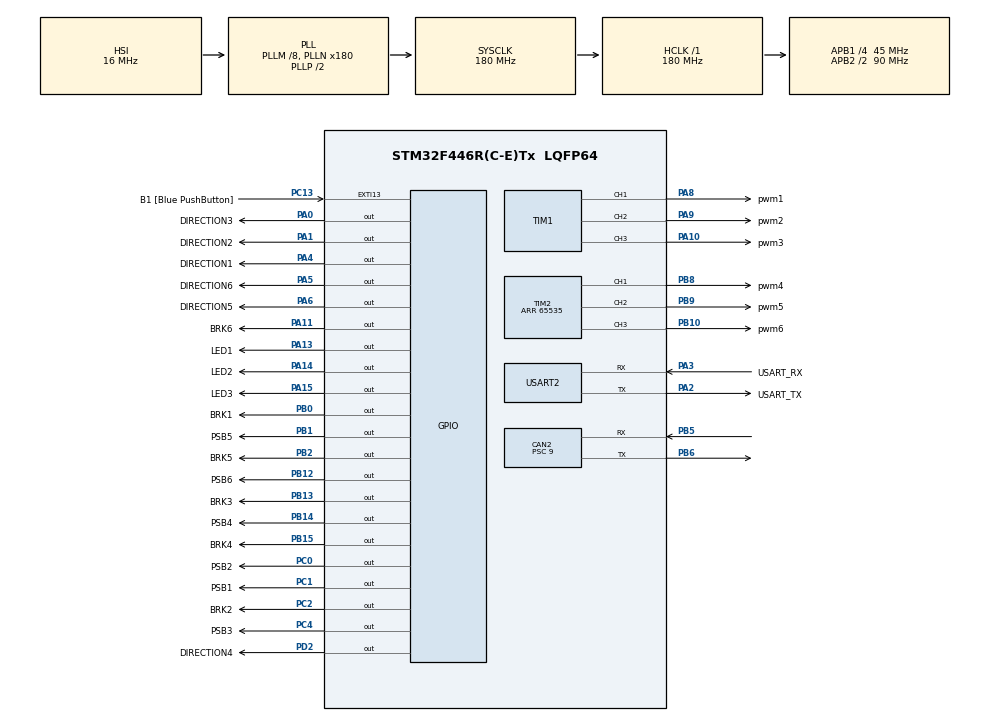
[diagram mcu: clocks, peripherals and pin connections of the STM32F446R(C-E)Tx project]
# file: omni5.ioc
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CAN2.BS1=CAN_BS1_4TQ
CAN2.BS2=CAN_BS2_5TQ
CAN2.CalculateBaudRate=500000
CAN2.CalculateTimeBit=2000
CAN2.CalculateTimeQuantum=200.0
CAN2.Prescaler=9
CAN2.SJW=CAN_SJW_4TQ
Mcu.Family=STM32F4
Mcu.Name=STM32F446R(C-E)Tx
Mcu.Package=LQFP64
NVIC.CAN2_RX0_IRQn=true\:0\:0\:false\:false\:true\:true\:true\:true
NVIC.CAN2_RX1_IRQn=true\:0\:0\:false\:false\:true\:true\:true\:true
NVIC.PriorityGroup=NVIC_PRIORITYGROUP_0
PA0-WKUP.GPIO_Label=DIRECTION3
PA0-WKUP.Signal=GPIO_Output
PA1.GPIO_Label=DIRECTION2
PA1.Signal=GPIO_Output
PA10.GPIO_Label=pwm3
PA10.Signal=S_TIM1_CH3
PA11.GPIO_Label=BRK6
PA11.Signal=GPIO_Output
PA13.GPIO_Label=LED1
PA13.Signal=GPIO_Output
PA14.GPIO_Label=LED2
PA14.Signal=GPIO_Output
PA15.GPIO_Label=LED3
PA15.Signal=GPIO_Output
PA2.GPIO_Label=USART_TX
PA2.Mode=Asynchronous
PA2.Signal=USART2_TX
PA3.GPIO_Label=USART_RX
PA3.Mode=Asynchronous
PA3.Signal=USART2_RX
PA4.GPIO_Label=DIRECTION1
PA4.Signal=GPIO_Output
PA5.GPIO_Label=DIRECTION6
PA5.Signal=GPIO_Output
PA6.GPIO_Label=DIRECTION5
PA6.Signal=GPIO_Output
PA8.GPIO_Label=pwm1
PA8.Signal=S_TIM1_CH1
PA9.GPIO_Label=pwm2
PA9.Signal=S_TIM1_CH2
PB0.GPIO_Label=BRK1
PB0.Signal=GPIO_Output
PB1.GPIO_Label=PSB5
PB1.Signal=GPIO_Output
PB10.GPIO_Label=pwm6
PB10.Signal=S_TIM2_CH3
PB12.GPIO_Label=PSB6
PB12.Signal=GPIO_Output
PB13.GPIO_Label=BRK3
PB13.Signal=GPIO_Output
PB14.GPIO_Label=PSB4
PB14.Signal=GPIO_Output
PB15.GPIO_Label=BRK4
PB15.Signal=GPIO_Output
PB2.GPIO_Label=BRK5
PB2.Signal=GPIO_Output
PB3.GPIO_Label=SWO
PB3.Signal=SYS_JTDO-SWO
PB5.Mode=CAN_Activate
PB5.Signal=CAN2_RX
PB6.Mode=CAN_Activate
PB6.Signal=CAN2_TX
PB8.GPIO_Label=pwm4
PB8.Signal=S_TIM2_CH1_ETR
PB9.GPIO_Label=pwm5
PB9.Signal=S_TIM2_CH2
PC0.GPIO_Label=PSB2
PC0.Signal=GPIO_Output
PC1.GPIO_Label=PSB1
PC1.Signal=GPIO_Output
PC13.GPIO_Label=B1 [Blue PushButton]
PC13.GPIO_ModeDefaultEXTI=GPIO_MODE_IT_FALLING
PC13.Signal=GPXTI13
PC14-OSC32_IN.Mode=LSE-External-Oscillator
PC14-OSC32_IN.Signal=RCC_OSC32_IN
PC15-OSC32_OUT.Mode=LSE-External-Oscillator
PC15-OSC32_OUT.Signal=RCC_OSC32_OUT
PC2.GPIO_Label=BRK2
PC2.Signal=GPIO_Output
PC4.GPIO_Label=PSB3
PC4.Signal=GPIO_Output
PD2.GPIO_Label=DIRECTION4
PD2.Signal=GPIO_Output
PH0-OSC_IN.Mode=HSE-External-Oscillator
PH0-OSC_IN.Signal=RCC_OSC_IN
PH1-OSC_OUT.Mode=HSE-External-Oscillator
PH1-OSC_OUT.Signal=RCC_OSC_OUT
ProjectManager.HeapSize=0x200
ProjectManager.StackSize=0x400
ProjectManager.TargetToolchain=STM32CubeIDE
RCC.48MHZClocksFreq_Value=84000000
RCC.AHBFreq_Value=180000000
RCC.APB1CLKDivider=RCC_HCLK_DIV4
RCC.APB1Freq_Value=45000000
RCC.APB1TimFreq_Value=90000000
RCC.APB2CLKDivider=RCC_HCLK_DIV2
RCC.APB2Freq_Value=90000000
RCC.APB2TimFreq_Value=180000000
RCC.CortexFreq_Value=180000000
RCC.FLatency-AdvancedSettings=FLASH_LATENCY_5
RCC.HCLKFreq_Value=180000000
RCC.HSE_VALUE=8000000
RCC.HSI_VALUE=16000000
RCC.PLLM=8
RCC.PLLN=180
RCC.SYSCLKFreq_VALUE=180000000
RCC.SYSCLKSource=RCC_SYSCLKSOURCE_PLLCLK
RCC.USBFreq_Value=180000000
RCC.VCOOutputFreq_Value=360000000
SH.S_TIM1_CH1.0=TIM1_CH1,PWM Generation1 CH1
SH.S_TIM1_CH2.0=TIM1_CH2,PWM Generation2 CH2
SH.S_TIM1_CH3.0=TIM1_CH3,PWM Generation3 CH3
SH.S_TIM2_CH1_ETR.0=TIM2_CH1,PWM Generation1 CH1
SH.S_TIM2_CH2.0=TIM2_CH2,PWM Generation2 CH2
SH.S_TIM2_CH3.0=TIM2_CH3,PWM Generation3 CH3
TIM1.Channel-PWM\ Generation1\ CH1=TIM_CHANNEL_1
TIM1.Channel-PWM\ Generation2\ CH2=TIM_CHANNEL_2
TIM1.Channel-PWM\ Generation3\ CH3=TIM_CHANNEL_3
TIM2.Channel-PWM\ Generation1\ CH1=TIM_CHANNEL_1
TIM2.Channel-PWM\ Generation2\ CH2=TIM_CHANNEL_2
TIM2.Channel-PWM\ Generation3\ CH3=TIM_CHANNEL_3
TIM2.Period=65535
USART2.VirtualMode=VM_ASYNC
VP_TIM1_VS_ClockSourceINT.Mode=Internal
VP_TIM2_VS_ClockSourceINT.Mode=Internal
board=NUCLEO-F446RE

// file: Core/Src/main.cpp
/* USER CODE BEGIN Header */
/**
  ******************************************************************************
  * @file           : main.c
  * @brief          : Main program body
  ******************************************************************************
  * @attention
  *
  * Copyright (c) 2023 STMicroelectronics.
  * All rights reserved.
  *
  * This software is licensed under terms that can be found in the LICENSE file
  * in the root directory of this software component.
  * If no LICENSE file comes with this software, it is provided AS-IS.
  *
  ******************************************************************************
  */
/* USER CODE END Header */
#include "main.h"

/* USER CODE BEGIN Includes */
#include <stdio.h>
#include <stdlib.h>
#include <cmath>

#include <algorithm>
#include <array>
/* USER CODE END Includes */

/* USER CODE BEGIN PTD */
typedef enum{
	SPEED,
	EMERJENCY,
	DATA3,
	DATA4,
	DATA5,
	DATA6,
	DATA7,
	DATA8,
}BUTTON_STATUS;
/* USER CODE END PTD */

CAN_HandleTypeDef hcan2;

TIM_HandleTypeDef htim1;
TIM_HandleTypeDef htim2;

UART_HandleTypeDef huart2;

void SystemClock_Config(void);
static void MX_GPIO_Init(void);
static void MX_USART2_UART_Init(void);
static void MX_CAN2_Init(void);
static void MX_TIM1_Init(void);
static void MX_TIM2_Init(void);

/* USER CODE BEGIN 0 */
void HAL_CAN_RxFifo0MsgPendingCallback(CAN_HandleTypeDef *hcan);
void WE_4(float Vx,float Vy,float Vr,std::array<float,4>& motor_pwm);
void nomal_4(int val,std::array<float,4>& motor_pwm);

/* USER CODE END 0 */

int main(void)
{

  /* MCU Configuration--------------------------------------------------------*/

  /* Reset of all peripherals, Initializes the Flash interface and the Systick. */
  HAL_Init();

  /* Configure the system clock */
  SystemClock_Config();

  /* Initialize all configured peripherals */
  MX_GPIO_Init();
  MX_USART2_UART_Init();
  MX_CAN2_Init();
  MX_TIM1_Init();
  MX_TIM2_Init();
  /* USER CODE BEGIN 2 */
CAN_FilterTypeDef filter;
	filter.FilterIdHigh         = 0;                        // フィルターID(上位16ビット)
	filter.FilterIdLow          = 0;                        // フィルターID(下位16ビット)
	filter.FilterMaskIdHigh     = 0;                        // フィルターマスク(上位16ビット)
	filter.FilterMaskIdLow      = 0;                        // フィルターマスク(下位16ビット)
	filter.FilterScale          = CAN_FILTERSCALE_32BIT;    // フィルタースケール
	filter.FilterFIFOAssignment = CAN_FILTER_FIFO0;         // フィルターに割り当てるFIFO
	filter.FilterBank           = 14;                        // フィルターバンクNo
	filter.FilterMode           = CAN_FILTERMODE_IDMASK;    // フィルターモード
	filter.SlaveStartFilterBank = 14;                       // スレーブCANの開始フィルターバンクNo
	filter.FilterActivation     = ENABLE;                   // フィルター無効／有効

HAL_CAN_ConfigFilter(&hcan2,&filter);
HAL_CAN_Start(&hcan2);//CANスタート
HAL_CAN_ActivateNotification(&hcan2, CAN_IT_RX_FIFO0_MSG_PENDING);//CAN割り込み有効

HAL_TIM_PWM_Start(&htim1, TIM_CHANNEL_1);
HAL_TIM_PWM_Start(&htim1, TIM_CHANNEL_2);
HAL_TIM_PWM_Start(&htim1, TIM_CHANNEL_3);
HAL_TIM_PWM_Start(&htim2, TIM_CHANNEL_1);
HAL_TIM_PWM_Start(&htim2, TIM_CHANNEL_2);
HAL_TIM_PWM_Start(&htim2, TIM_CHANNEL_3);

HAL_GPIO_WritePin(PSB1_GPIO_Port,PSB1_Pin,GPIO_PIN_SET);
HAL_GPIO_WritePin(BRK1_GPIO_Port,BRK1_Pin,GPIO_PIN_RESET);
HAL_GPIO_WritePin(PSB2_GPIO_Port,PSB2_Pin,GPIO_PIN_SET);
HAL_GPIO_WritePin(BRK2_GPIO_Port,BRK2_Pin,GPIO_PIN_RESET);
HAL_GPIO_WritePin(PSB3_GPIO_Port,PSB3_Pin,GPIO_PIN_SET);
HAL_GPIO_WritePin(BRK3_GPIO_Port,BRK3_Pin,GPIO_PIN_RESET);
HAL_GPIO_WritePin(PSB4_GPIO_Port,PSB4_Pin,GPIO_PIN_SET);
HAL_GPIO_WritePin(BRK4_GPIO_Port,BRK4_Pin,GPIO_PIN_RESET);
HAL_GPIO_WritePin(PSB5_GPIO_Port,PSB5_Pin,GPIO_PIN_SET);
HAL_GPIO_WritePin(BRK5_GPIO_Port,BRK5_Pin,GPIO_PIN_RESET);
HAL_GPIO_WritePin(PSB6_GPIO_Port,PSB6_Pin,GPIO_PIN_SET);
HAL_GPIO_WritePin(BRK6_GPIO_Port,BRK6_Pin,GPIO_PIN_RESET);

HAL_GPIO_WritePin(LED1_GPIO_Port, LED1_Pin, GPIO_PIN_SET);
HAL_Delay(100);
HAL_GPIO_WritePin(LED1_GPIO_Port, LED1_Pin, GPIO_PIN_RESET);

  /* USER CODE END 2 */

  /* Infinite loop */
  while (1)
  {

  }
}

void SystemClock_Config(void)
{
  RCC_OscInitTypeDef RCC_OscInitStruct = {0};
  RCC_ClkInitTypeDef RCC_ClkInitStruct = {0};

  /** Configure the main internal regulator output voltage
  */
  __HAL_RCC_PWR_CLK_ENABLE();
  __HAL_PWR_VOLTAGESCALING_CONFIG(PWR_REGULATOR_VOLTAGE_SCALE1);

  /** Initializes the RCC Oscillators according to the specified parameters
  * in the RCC_OscInitTypeDef structure.
  */
  RCC_OscInitStruct.OscillatorType = RCC_OSCILLATORTYPE_HSI;
  RCC_OscInitStruct.HSIState = RCC_HSI_ON;
  RCC_OscInitStruct.HSICalibrationValue = RCC_HSICALIBRATION_DEFAULT;
  RCC_OscInitStruct.PLL.PLLState = RCC_PLL_ON;
  RCC_OscInitStruct.PLL.PLLSource = RCC_PLLSOURCE_HSI;
  RCC_OscInitStruct.PLL.PLLM = 8;
  RCC_OscInitStruct.PLL.PLLN = 180;
  RCC_OscInitStruct.PLL.PLLP = RCC_PLLP_DIV2;
  RCC_OscInitStruct.PLL.PLLQ = 2;
  RCC_OscInitStruct.PLL.PLLR = 2;
  if (HAL_RCC_OscConfig(&RCC_OscInitStruct) != HAL_OK)
  {
    Error_Handler();
  }

  /** Activate the Over-Drive mode
  */
  if (HAL_PWREx_EnableOverDrive() != HAL_OK)
  {
    Error_Handler();
  }

  /** Initializes the CPU, AHB and APB buses clocks
  */
  RCC_ClkInitStruct.ClockType = RCC_CLOCKTYPE_HCLK|RCC_CLOCKTYPE_SYSCLK
                              |RCC_CLOCKTYPE_PCLK1|RCC_CLOCKTYPE_PCLK2;
  RCC_ClkInitStruct.SYSCLKSource = RCC_SYSCLKSOURCE_PLLCLK;
  RCC_ClkInitStruct.AHBCLKDivider = RCC_SYSCLK_DIV1;
  RCC_ClkInitStruct.APB1CLKDivider = RCC_HCLK_DIV4;
  RCC_ClkInitStruct.APB2CLKDivider = RCC_HCLK_DIV2;

  if (HAL_RCC_ClockConfig(&RCC_ClkInitStruct, FLASH_LATENCY_5) != HAL_OK)
  {
    Error_Handler();
  }
}

static void MX_CAN2_Init(void)
{

  hcan2.Instance = CAN2;
  hcan2.Init.Prescaler = 9;
  hcan2.Init.Mode = CAN_MODE_NORMAL;
  hcan2.Init.SyncJumpWidth = CAN_SJW_4TQ;
  hcan2.Init.TimeSeg1 = CAN_BS1_4TQ;
  hcan2.Init.TimeSeg2 = CAN_BS2_5TQ;
  hcan2.Init.TimeTriggeredMode = DISABLE;
  hcan2.Init.AutoBusOff = DISABLE;
  hcan2.Init.AutoWakeUp = DISABLE;
  hcan2.Init.AutoRetransmission = DISABLE;
  hcan2.Init.ReceiveFifoLocked = DISABLE;
  hcan2.Init.TransmitFifoPriority = DISABLE;
  if (HAL_CAN_Init(&hcan2) != HAL_OK)
  {
    Error_Handler();
  }

}

static void MX_TIM1_Init(void)
{

  TIM_ClockConfigTypeDef sClockSourceConfig = {0};
  TIM_MasterConfigTypeDef sMasterConfig = {0};
  TIM_OC_InitTypeDef sConfigOC = {0};
  TIM_BreakDeadTimeConfigTypeDef sBreakDeadTimeConfig = {0};

  htim1.Instance = TIM1;
  htim1.Init.Prescaler = 0;
  htim1.Init.CounterMode = TIM_COUNTERMODE_UP;
  htim1.Init.Period = 65535;
  htim1.Init.ClockDivision = TIM_CLOCKDIVISION_DIV1;
  htim1.Init.RepetitionCounter = 0;
  htim1.Init.AutoReloadPreload = TIM_AUTORELOAD_PRELOAD_DISABLE;
  if (HAL_TIM_Base_Init(&htim1) != HAL_OK)
  {
    Error_Handler();
  }
  sClockSourceConfig.ClockSource = TIM_CLOCKSOURCE_INTERNAL;
  if (HAL_TIM_ConfigClockSource(&htim1, &sClockSourceConfig) != HAL_OK)
  {
    Error_Handler();
  }
  if (HAL_TIM_PWM_Init(&htim1) != HAL_OK)
  {
    Error_Handler();
  }
  sMasterConfig.MasterOutputTrigger = TIM_TRGO_RESET;
  sMasterConfig.MasterSlaveMode = TIM_MASTERSLAVEMODE_DISABLE;
  if (HAL_TIMEx_MasterConfigSynchronization(&htim1, &sMasterConfig) != HAL_OK)
  {
    Error_Handler();
  }
  sConfigOC.OCMode = TIM_OCMODE_PWM1;
  sConfigOC.Pulse = 0;
  sConfigOC.OCPolarity = TIM_OCPOLARITY_HIGH;
  sConfigOC.OCNPolarity = TIM_OCNPOLARITY_HIGH;
  sConfigOC.OCFastMode = TIM_OCFAST_DISABLE;
  sConfigOC.OCIdleState = TIM_OCIDLESTATE_RESET;
  sConfigOC.OCNIdleState = TIM_OCNIDLESTATE_RESET;
  if (HAL_TIM_PWM_ConfigChannel(&htim1, &sConfigOC, TIM_CHANNEL_1) != HAL_OK)
  {
    Error_Handler();
  }
  if (HAL_TIM_PWM_ConfigChannel(&htim1, &sConfigOC, TIM_CHANNEL_2) != HAL_OK)
  {
    Error_Handler();
  }
  if (HAL_TIM_PWM_ConfigChannel(&htim1, &sConfigOC, TIM_CHANNEL_3) != HAL_OK)
  {
    Error_Handler();
  }
  sBreakDeadTimeConfig.OffStateRunMode = TIM_OSSR_DISABLE;
  sBreakDeadTimeConfig.OffStateIDLEMode = TIM_OSSI_DISABLE;
  sBreakDeadTimeConfig.LockLevel = TIM_LOCKLEVEL_OFF;
  sBreakDeadTimeConfig.DeadTime = 0;
  sBreakDeadTimeConfig.BreakState = TIM_BREAK_DISABLE;
  sBreakDeadTimeConfig.BreakPolarity = TIM_BREAKPOLARITY_HIGH;
  sBreakDeadTimeConfig.AutomaticOutput = TIM_AUTOMATICOUTPUT_DISABLE;
  if (HAL_TIMEx_ConfigBreakDeadTime(&htim1, &sBreakDeadTimeConfig) != HAL_OK)
  {
    Error_Handler();
  }
  HAL_TIM_MspPostInit(&htim1);

}

static void MX_TIM2_Init(void)
{

  TIM_ClockConfigTypeDef sClockSourceConfig = {0};
  TIM_MasterConfigTypeDef sMasterConfig = {0};
  TIM_OC_InitTypeDef sConfigOC = {0};

  htim2.Instance = TIM2;
  htim2.Init.Prescaler = 0;
  htim2.Init.CounterMode = TIM_COUNTERMODE_UP;
  htim2.Init.Period = 65535;
  htim2.Init.ClockDivision = TIM_CLOCKDIVISION_DIV1;
  htim2.Init.AutoReloadPreload = TIM_AUTORELOAD_PRELOAD_DISABLE;
  if (HAL_TIM_Base_Init(&htim2) != HAL_OK)
  {
    Error_Handler();
  }
  sClockSourceConfig.ClockSource = TIM_CLOCKSOURCE_INTERNAL;
  if (HAL_TIM_ConfigClockSource(&htim2, &sClockSourceConfig) != HAL_OK)
  {
    Error_Handler();
  }
  if (HAL_TIM_PWM_Init(&htim2) != HAL_OK)
  {
    Error_Handler();
  }
  sMasterConfig.MasterOutputTrigger = TIM_TRGO_RESET;
  sMasterConfig.MasterSlaveMode = TIM_MASTERSLAVEMODE_DISABLE;
  if (HAL_TIMEx_MasterConfigSynchronization(&htim2, &sMasterConfig) != HAL_OK)
  {
    Error_Handler();
  }
  sConfigOC.OCMode = TIM_OCMODE_PWM1;
  sConfigOC.Pulse = 0;
  sConfigOC.OCPolarity = TIM_OCPOLARITY_HIGH;
  sConfigOC.OCFastMode = TIM_OCFAST_DISABLE;
  if (HAL_TIM_PWM_ConfigChannel(&htim2, &sConfigOC, TIM_CHANNEL_1) != HAL_OK)
  {
    Error_Handler();
  }
  if (HAL_TIM_PWM_ConfigChannel(&htim2, &sConfigOC, TIM_CHANNEL_2) != HAL_OK)
  {
    Error_Handler();
  }
  if (HAL_TIM_PWM_ConfigChannel(&htim2, &sConfigOC, TIM_CHANNEL_3) != HAL_OK)
  {
    Error_Handler();
  }
  HAL_TIM_MspPostInit(&htim2);

}

static void MX_USART2_UART_Init(void)
{

  huart2.Instance = USART2;
  huart2.Init.BaudRate = 115200;
  huart2.Init.WordLength = UART_WORDLENGTH_8B;
  huart2.Init.StopBits = UART_STOPBITS_1;
  huart2.Init.Parity = UART_PARITY_NONE;
  huart2.Init.Mode = UART_MODE_TX_RX;
  huart2.Init.HwFlowCtl = UART_HWCONTROL_NONE;
  huart2.Init.OverSampling = UART_OVERSAMPLING_16;
  if (HAL_UART_Init(&huart2) != HAL_OK)
  {
    Error_Handler();
  }

}

static void MX_GPIO_Init(void)
{
  GPIO_InitTypeDef GPIO_InitStruct = {0};

  /* GPIO Ports Clock Enable */
  __HAL_RCC_GPIOC_CLK_ENABLE();
  __HAL_RCC_GPIOH_CLK_ENABLE();
  __HAL_RCC_GPIOA_CLK_ENABLE();
  __HAL_RCC_GPIOB_CLK_ENABLE();
  __HAL_RCC_GPIOD_CLK_ENABLE();

  /*Configure GPIO pin Output Level */
  HAL_GPIO_WritePin(GPIOC, PSB2_Pin|PSB1_Pin|BRK2_Pin|PSB3_Pin, GPIO_PIN_RESET);

  /*Configure GPIO pin Output Level */
  HAL_GPIO_WritePin(GPIOA, DIRECTION3_Pin|DIRECTION2_Pin|DIRECTION1_Pin|DIRECTION6_Pin
                          |DIRECTION5_Pin|BRK6_Pin|LED1_Pin|LED2_Pin
                          |LED3_Pin, GPIO_PIN_RESET);

  /*Configure GPIO pin Output Level */
  HAL_GPIO_WritePin(GPIOB, BRK1_Pin|PSB5_Pin|BRK5_Pin|PSB6_Pin
                          |BRK3_Pin|PSB4_Pin|BRK4_Pin, GPIO_PIN_RESET);

  /*Configure GPIO pin Output Level */
  HAL_GPIO_WritePin(DIRECTION4_GPIO_Port, DIRECTION4_Pin, GPIO_PIN_RESET);

  /*Configure GPIO pin : B1_Pin */
  GPIO_InitStruct.Pin = B1_Pin;
  GPIO_InitStruct.Mode = GPIO_MODE_IT_FALLING;
  GPIO_InitStruct.Pull = GPIO_NOPULL;
  HAL_GPIO_Init(B1_GPIO_Port, &GPIO_InitStruct);

  /*Configure GPIO pins : PSB2_Pin PSB1_Pin BRK2_Pin PSB3_Pin */
  GPIO_InitStruct.Pin = PSB2_Pin|PSB1_Pin|BRK2_Pin|PSB3_Pin;
  GPIO_InitStruct.Mode = GPIO_MODE_OUTPUT_PP;
  GPIO_InitStruct.Pull = GPIO_NOPULL;
  GPIO_InitStruct.Speed = GPIO_SPEED_FREQ_LOW;
  HAL_GPIO_Init(GPIOC, &GPIO_InitStruct);

  /*Configure GPIO pins : DIRECTION3_Pin DIRECTION2_Pin DIRECTION1_Pin DIRECTION6_Pin
                           DIRECTION5_Pin BRK6_Pin LED1_Pin LED2_Pin
                           LED3_Pin */
  GPIO_InitStruct.Pin = DIRECTION3_Pin|DIRECTION2_Pin|DIRECTION1_Pin|DIRECTION6_Pin
                          |DIRECTION5_Pin|BRK6_Pin|LED1_Pin|LED2_Pin
                          |LED3_Pin;
  GPIO_InitStruct.Mode = GPIO_MODE_OUTPUT_PP;
  GPIO_InitStruct.Pull = GPIO_NOPULL;
  GPIO_InitStruct.Speed = GPIO_SPEED_FREQ_LOW;
  HAL_GPIO_Init(GPIOA, &GPIO_InitStruct);

  /*Configure GPIO pins : BRK1_Pin PSB5_Pin BRK5_Pin PSB6_Pin
                           BRK3_Pin PSB4_Pin BRK4_Pin */
  GPIO_InitStruct.Pin = BRK1_Pin|PSB5_Pin|BRK5_Pin|PSB6_Pin
                          |BRK3_Pin|PSB4_Pin|BRK4_Pin;
  GPIO_InitStruct.Mode = GPIO_MODE_OUTPUT_PP;
  GPIO_InitStruct.Pull = GPIO_NOPULL;
  GPIO_InitStruct.Speed = GPIO_SPEED_FREQ_LOW;
  HAL_GPIO_Init(GPIOB, &GPIO_InitStruct);

  /*Configure GPIO pin : DIRECTION4_Pin */
  GPIO_InitStruct.Pin = DIRECTION4_Pin;
  GPIO_InitStruct.Mode = GPIO_MODE_OUTPUT_PP;
  GPIO_InitStruct.Pull = GPIO_NOPULL;
  GPIO_InitStruct.Speed = GPIO_SPEED_FREQ_LOW;
  HAL_GPIO_Init(DIRECTION4_GPIO_Port, &GPIO_InitStruct);

}

/* USER CODE BEGIN 4 */

constexpr static float mat_xy = sqrt(2.0) * 0.5;
constexpr static float mat_rotate = 0.5;
constexpr static std::array<std::array<float,3>,4>motor_mat{{
	{ mat_xy, -mat_xy, mat_rotate},
	{-mat_xy, -mat_xy, mat_rotate},
	{-mat_xy,  mat_xy, mat_rotate},
	{ mat_xy,  mat_xy, mat_rotate},
}};
int speed = 200;

void HAL_CAN_RxFifo0MsgPendingCallback(CAN_HandleTypeDef *hcan){
	uint32_t id;
	uint32_t dlc;

	std::array<float,8>rcv_data;
	std::array<float,4>motor_pwm;
	uint8_t RxData[8];
	CAN_RxHeaderTypeDef RxHeader;
//	constexpr static int motor_amp = 210;

    if(HAL_CAN_GetRxMessage(hcan,CAN_RX_FIFO0,&RxHeader,RxData) == HAL_OK){
//    	id = (RxHeader.IDE == CAN_ID_STD) ? RxHeader.StdId : RxHeader.ExtId;
    	id = RxHeader.StdId;
    	dlc = RxHeader.DLC;

    	if(id == 0x001){
		   rcv_data[0] = (RxData[0] - 128.0);
		   rcv_data[1] = RxData[1] - 128.0;
		   rcv_data[2] = (RxData[2] - 128.0);
		   rcv_data[3] = RxData[3] - 128.0;
		   rcv_data[4] = RxData[4] - 1.0;
		   rcv_data[5] = RxData[5] - 1.0;
		   rcv_data[6] = RxData[6];
		   rcv_data[7] = RxData[7];
		   WE_4(rcv_data[2],rcv_data[3],rcv_data[0],motor_pwm);
		   HAL_GPIO_WritePin(DIRECTION5_GPIO_Port,DIRECTION5_Pin, (rcv_data[5] < 0.0) ? GPIO_PIN_RESET : GPIO_PIN_SET);
		   HAL_GPIO_WritePin(DIRECTION6_GPIO_Port,DIRECTION6_Pin, (rcv_data[5] < 0.0) ? GPIO_PIN_RESET : GPIO_PIN_SET);
		   //nomal_4(100,motor_pwm);
		   HAL_GPIO_WritePin(BRK1_GPIO_Port,BRK1_Pin, (motor_pwm[0] == 0.0) ? GPIO_PIN_SET : GPIO_PIN_RESET);
		   HAL_GPIO_WritePin(BRK2_GPIO_Port,BRK2_Pin, (motor_pwm[1] == 0.0) ? GPIO_PIN_SET : GPIO_PIN_RESET);
		   HAL_GPIO_WritePin(BRK3_GPIO_Port,BRK3_Pin, (motor_pwm[2] == 0.0) ? GPIO_PIN_SET : GPIO_PIN_RESET);
		   HAL_GPIO_WritePin(BRK4_GPIO_Port,BRK4_Pin, (motor_pwm[3] == 0.0) ? GPIO_PIN_SET : GPIO_PIN_RESET);
		   HAL_GPIO_WritePin(BRK5_GPIO_Port,BRK5_Pin, (rcv_data[5] == 0.0) ? GPIO_PIN_SET : GPIO_PIN_RESET);
		   HAL_GPIO_WritePin(BRK6_GPIO_Port,BRK6_Pin, (rcv_data[5] == 0.0) ? GPIO_PIN_SET : GPIO_PIN_RESET);

			__HAL_TIM_SET_COMPARE(&htim1, TIM_CHANNEL_1, abs((int)motor_pwm[0]) * speed);
			__HAL_TIM_SET_COMPARE(&htim1, TIM_CHANNEL_2, abs((int)motor_pwm[1]) * speed);
			__HAL_TIM_SET_COMPARE(&htim1, TIM_CHANNEL_3, abs((int)motor_pwm[2]) * speed);
			__HAL_TIM_SET_COMPARE(&htim2, TIM_CHANNEL_1, abs((int)motor_pwm[3]) * speed);
			__HAL_TIM_SET_COMPARE(&htim2, TIM_CHANNEL_2, abs((int)rcv_data[5] * 30000.0));
			__HAL_TIM_SET_COMPARE(&htim2, TIM_CHANNEL_3, abs((int)rcv_data[5] * 30000.0));

    	}else if(id == 0x002){

    		if (RxData[SPEED] == 1){
    			speed = 100;
    			HAL_GPIO_WritePin(LED1_GPIO_Port, LED1_Pin, GPIO_PIN_SET);
    			HAL_GPIO_WritePin(LED2_GPIO_Port, LED2_Pin, GPIO_PIN_RESET);
    			HAL_GPIO_WritePin(LED3_GPIO_Port, LED3_Pin, GPIO_PIN_RESET);
    		}
    		else if (RxData[SPEED] == 2){
    			speed = 200;
    			HAL_GPIO_WritePin(LED1_GPIO_Port, LED1_Pin, GPIO_PIN_RESET);
    			HAL_GPIO_WritePin(LED2_GPIO_Port, LED2_Pin, GPIO_PIN_SET);
    			HAL_GPIO_WritePin(LED3_GPIO_Port, LED3_Pin, GPIO_PIN_RESET);
    		}
    		else if (RxData[SPEED] == 3){
    			speed = 300;
    			HAL_GPIO_WritePin(LED1_GPIO_Port, LED1_Pin, GPIO_PIN_RESET);
    			HAL_GPIO_WritePin(LED2_GPIO_Port, LED2_Pin, GPIO_PIN_RESET);
    			HAL_GPIO_WritePin(LED3_GPIO_Port, LED3_Pin, GPIO_PIN_SET);
    		}
    		else{
    			;
    		}
    		HAL_GPIO_WritePin(BRK1_GPIO_Port,BRK1_Pin,(RxData[EMERJENCY] != 1) ? GPIO_PIN_SET : GPIO_PIN_RESET);
    		HAL_GPIO_WritePin(BRK2_GPIO_Port,BRK2_Pin,(RxData[EMERJENCY] != 1) ? GPIO_PIN_SET : GPIO_PIN_RESET);
    		HAL_GPIO_WritePin(BRK3_GPIO_Port,BRK3_Pin,(RxData[EMERJENCY] != 1) ? GPIO_PIN_SET : GPIO_PIN_RESET);
    		HAL_GPIO_WritePin(BRK4_GPIO_Port,BRK4_Pin,(RxData[EMERJENCY] != 1) ? GPIO_PIN_SET : GPIO_PIN_RESET);
    		HAL_GPIO_WritePin(BRK5_GPIO_Port,BRK5_Pin,(RxData[EMERJENCY] != 1) ? GPIO_PIN_SET : GPIO_PIN_RESET);
    		HAL_GPIO_WritePin(BRK6_GPIO_Port,BRK6_Pin,(RxData[EMERJENCY] != 1) ? GPIO_PIN_SET : GPIO_PIN_RESET);

    	}

    }
}

void WE_4(float Vx,float Vy,float Vr,std::array<float,4>& motor_pwm){
	for(int i = 0;i < 4;i++){
		motor_pwm[i] = (Vx * motor_mat[i][0]) + (Vy * motor_mat[i][1]) + (Vr * motor_mat[i][2]);
	}

	//HAL_GPIOでDIRECTION_PINを操作
    HAL_GPIO_WritePin(DIRECTION1_GPIO_Port,DIRECTION1_Pin, (motor_pwm[0] < 0.0) ? GPIO_PIN_RESET : GPIO_PIN_SET);
    HAL_GPIO_WritePin(DIRECTION2_GPIO_Port,DIRECTION2_Pin, (motor_pwm[1] < 0.0) ? GPIO_PIN_RESET : GPIO_PIN_SET);
    HAL_GPIO_WritePin(DIRECTION3_GPIO_Port,DIRECTION3_Pin, (motor_pwm[2] < 0.0) ? GPIO_PIN_RESET : GPIO_PIN_SET);
    HAL_GPIO_WritePin(DIRECTION4_GPIO_Port,DIRECTION4_Pin, (motor_pwm[3] < 0.0) ? GPIO_PIN_RESET : GPIO_PIN_SET);
}

void nomal_4(int val,std::array<float,4>& motor_pwm){
	for(int i = 0;i < 4;i++){
		motor_pwm[i] = val;
	}
    HAL_GPIO_WritePin(DIRECTION1_GPIO_Port,DIRECTION1_Pin, (motor_pwm[0] < 0.0) ? GPIO_PIN_RESET : GPIO_PIN_SET);
    HAL_GPIO_WritePin(DIRECTION2_GPIO_Port,DIRECTION2_Pin, (motor_pwm[1] < 0.0) ? GPIO_PIN_RESET : GPIO_PIN_SET);
    HAL_GPIO_WritePin(DIRECTION3_GPIO_Port,DIRECTION3_Pin, (motor_pwm[2] < 0.0) ? GPIO_PIN_RESET : GPIO_PIN_SET);
    HAL_GPIO_WritePin(DIRECTION4_GPIO_Port,DIRECTION4_Pin, (motor_pwm[3] < 0.0) ? GPIO_PIN_RESET : GPIO_PIN_SET);
}
/* USER CODE END 4 */

void Error_Handler(void)
{
  __disable_irq();
  while (1)
  {
  }
}
